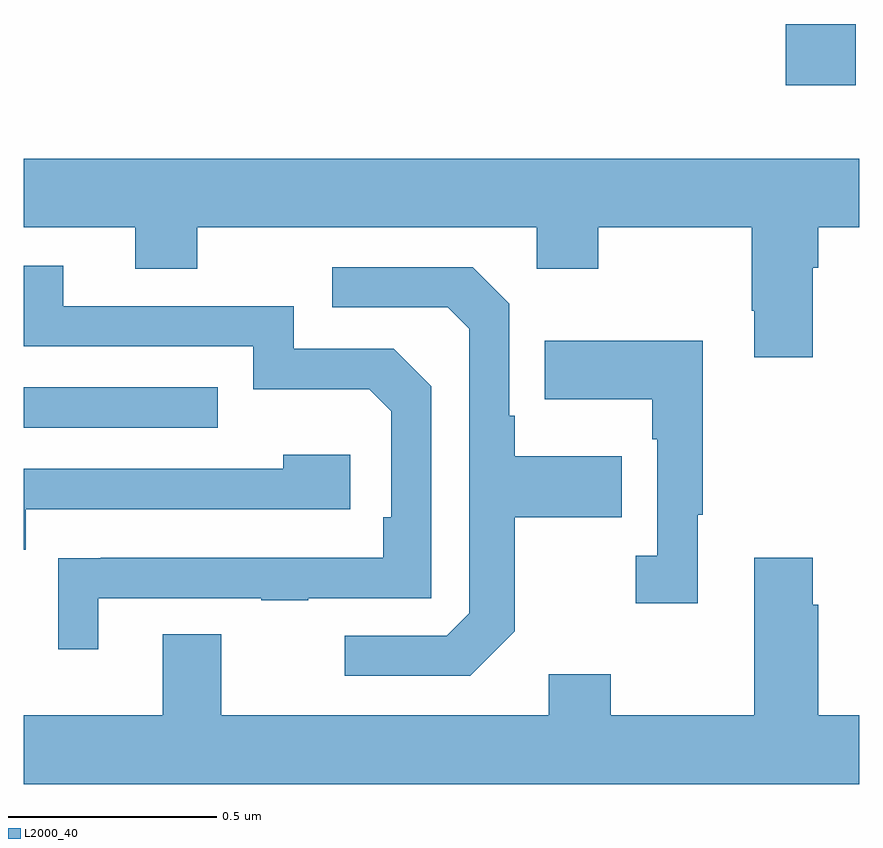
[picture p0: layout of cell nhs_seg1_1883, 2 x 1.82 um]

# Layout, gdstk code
import gdstk
lib = gdstk.Library(unit=1e-6, precision=1e-09)
def R(c, l, rs):  # rectangles x0, y0, x1, y1
    for r in rs: c.add(gdstk.rectangle(r[:2], r[2:], *l))
def P(c, l, *ps):  # polygons
    for p in ps: c.add(gdstk.Polygon(p, *l))
L2000_40 = (2000, 40)

nhs_seg1_1883 = lib.new_cell('nhs_seg1_1883')
R(nhs_seg1_1883, L2000_40, [(134,571.233,134.465,571.329), (135.824,572.052,135.991,572.199)])
P(nhs_seg1_1883, L2000_40, [(135.889,571.616),(135.902,571.616),(135.902,571.712),(136,571.712),(136,571.876),(134,571.876),(134,571.712),(134.267,571.712),(134.267,571.613),(134.415,571.613),(134.415,571.712),(135.228,571.712),(135.228,571.613),(135.375,571.613),(135.375,571.712),(135.742,571.712),(135.742,571.513),(135.749,571.513),(135.749,571.401),(135.889,571.401)],
  [(134.179,570.825),(134.569,570.825),(134.569,570.82),(134.681,570.82),(134.681,570.825),(134.976,570.825),(134.976,571.332),(134.886,571.422),(134.646,571.422),(134.646,571.524),(134.095,571.524),(134.095,571.62),(134,571.62),(134,571.428),(134.55,571.428),(134.55,571.325),(134.827,571.325),(134.88,571.272),(134.88,571.018),(134.86,571.018),(134.86,570.921),(134.185,570.921),(134.185,570.92),(134.083,570.92),(134.083,570.702),(134.179,570.702)],
  [(135.175,570.745),(135.175,571.018),(135.431,571.018),(135.431,571.165),(135.175,571.165),(135.175,571.261),(135.162,571.261),(135.162,571.53),(135.075,571.617),(134.739,571.617),(134.739,571.521),(135.015,571.521),(135.066,571.47),(135.066,570.789),(135.012,570.735),(134.769,570.735),(134.769,570.639),(135.069,570.639)],
  [(135.613,571.025),(135.625,571.025),(135.625,571.441),(135.247,571.441),(135.247,571.301),(135.504,571.301),(135.504,571.205),(135.516,571.205),(135.516,570.926),(135.465,570.926),(135.465,570.813),(135.613,570.813)],
  [(134.005,571.038),(134.782,571.038),(134.782,571.168),(134.621,571.168),(134.621,571.134),(134,571.134),(134,570.941),(134.005,570.941)],
  [(136,570.544),(135.902,570.544),(135.902,570.809),(135.889,570.809),(135.889,570.922),(135.749,570.922),(135.749,570.544),(135.405,570.544),(135.405,570.643),(135.257,570.643),(135.257,570.544),(134.473,570.544),(134.473,570.739),(134.333,570.739),(134.333,570.544),(134,570.544),(134,570.38),(136,570.38)])

lib.write_gds('nhs_seg1_1883.gds')
